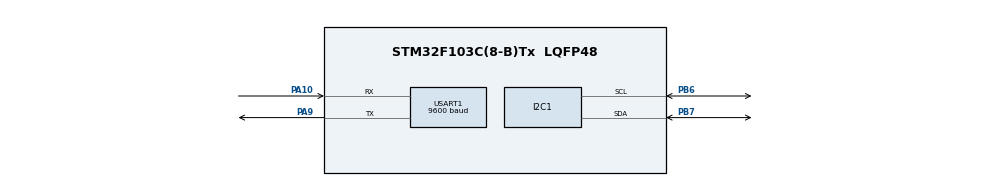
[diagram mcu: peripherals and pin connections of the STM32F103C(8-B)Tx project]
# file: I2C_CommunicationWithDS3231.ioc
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Mcu.Family=STM32F1
Mcu.Name=STM32F103C(8-B)Tx
Mcu.Package=LQFP48
NVIC.PriorityGroup=NVIC_PRIORITYGROUP_4
PA10.Mode=Asynchronous
PA10.Signal=USART1_RX
PA13.Mode=Serial_Wire
PA13.Signal=SYS_JTMS-SWDIO
PA14.Mode=Serial_Wire
PA14.Signal=SYS_JTCK-SWCLK
PA9.Mode=Asynchronous
PA9.Signal=USART1_TX
PB6.Mode=I2C
PB6.Signal=I2C1_SCL
PB7.Mode=I2C
PB7.Signal=I2C1_SDA
ProjectManager.HeapSize=0x200
ProjectManager.StackSize=0x400
ProjectManager.TargetToolchain=MDK-ARM V5
RCC.APB1Freq_Value=8000000
RCC.APB2Freq_Value=8000000
USART1.BaudRate=9600
USART1.VirtualMode=VM_ASYNC
board=I2C_DS3231

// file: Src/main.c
/* USER CODE BEGIN Header */
/**
  ******************************************************************************
  * @file           : main.c
  * @brief          : Main program body
  ******************************************************************************
  * @attention
  *
  * <h2><center>&copy; Copyright (c) 2019 STMicroelectronics.
  * All rights reserved.</center></h2>
  *
  * This software component is licensed by ST under BSD 3-Clause license,
  * the "License"; You may not use this file except in compliance with the
  * License. You may obtain a copy of the License at:
  *                        opensource.org/licenses/BSD-3-Clause
  *
  ******************************************************************************
  */
	/* --COPYRIGHT--,
	 * Copyright (c) 2019, TAPIT Co., Ltd.
	 * https://tapit.vn
	 * *********************** I2C_CommunicationWithDS3231 *************************
	 *  Description: Take the time from the DS3231 module and print it to the screen
	 *  Version:    1.0
	 *  Author:     Hang Tran
	 *  Release:    May 27, 2019
	 *  Built with CubeMX Version 5.2.0 and Keil C Version 5.26.2
	 *******************************************************************************
	 */
/* USER CODE END Header */

#include "main.h"

I2C_HandleTypeDef hi2c1;

UART_HandleTypeDef huart1;

/* USER CODE BEGIN PV */
/* Private variables ---------------------------------------------------------*/
/* USER CODE END PV */

void SystemClock_Config(void);
static void MX_GPIO_Init(void);
static void MX_I2C1_Init(void);
static void MX_USART1_UART_Init(void);
/* USER CODE BEGIN PFP */
/* Private function prototypes -----------------------------------------------*/
#define DS1307_ADRESS (0x68<<1)

int second, minute, hour, day, date, month, year;
typedef struct {
	uint8_t sec;
	uint8_t min;
	uint8_t hour;
	uint8_t day;
	uint8_t date;
	uint8_t month;
	uint8_t year;
	uint8_t buff[8];
} DS1307;

DS1307 ds1307;

/* USER CODE END PFP */

/* USER CODE BEGIN 0 */
uint8_t RTC_BCD2DEC(uint8_t value)
{
	return (value>>4)*10 + (value&0x0f);
}

uint8_t RTC_DEC2BCD(uint8_t value)
{
	return (value/10)<<4 | (value%10);
}
void RTC_setTime(uint8_t hour, uint8_t min, uint8_t sec, uint8_t day, uint8_t date, uint8_t month, uint8_t year)
{
	ds1307.buff[0] = 0x00;
	ds1307.buff[1] = RTC_DEC2BCD(sec);
	ds1307.buff[2] = RTC_DEC2BCD(min);
	ds1307.buff[3] = RTC_DEC2BCD(hour);
	ds1307.buff[4] = RTC_DEC2BCD(day);
	ds1307.buff[5] = RTC_DEC2BCD(date);
	ds1307.buff[6] = RTC_DEC2BCD(month);
	ds1307.buff[7] = RTC_DEC2BCD(year);
	if(HAL_I2C_Master_Transmit(&hi2c1, (uint16_t)DS1307_ADRESS, ds1307.buff, (uint16_t)8, 100) == HAL_OK)
	printf("Set time at %02d:%02d:%02d - %02d/%02d/%02d\r\n",hour,min,sec,date,month,year);
	else
	{
		printf("Error %d\r\n",HAL_I2C_Master_Transmit(&hi2c1, DS1307_ADRESS, ds1307.buff, 8, 100));
	}
}
void RTC_getTime(void)
{
	ds1307.buff[0] = 0x00;
	HAL_I2C_Master_Transmit(&hi2c1, DS1307_ADRESS, ds1307.buff, 1, 100);
	while(HAL_I2C_GetState(&hi2c1) != HAL_I2C_STATE_READY);
	HAL_I2C_Master_Receive(&hi2c1, DS1307_ADRESS, ds1307.buff, 7, 100);
	ds1307.sec = RTC_BCD2DEC(ds1307.buff[0]);
	ds1307.min = RTC_BCD2DEC(ds1307.buff[1]);
	ds1307.hour = RTC_BCD2DEC(ds1307.buff[2]);
	ds1307.day = RTC_BCD2DEC(ds1307.buff[3]);
	ds1307.date = RTC_BCD2DEC(ds1307.buff[4]);
	ds1307.month = RTC_BCD2DEC(ds1307.buff[5]);
	ds1307.year = RTC_BCD2DEC(ds1307.buff[6]);
	printf("%02d:%02d:%02d - %02d/%02d/%02d\r\n",ds1307.hour,ds1307.min,ds1307.sec,
																							ds1307.date,ds1307.month,ds1307.year);
}

/* USER CODE END 0 */

int main(void)
{

  /* MCU Configuration--------------------------------------------------------*/

  /* Reset of all peripherals, Initializes the Flash interface and the Systick. */
  HAL_Init();

  /* Configure the system clock */
  SystemClock_Config();

  /* Initialize all configured peripherals */
  MX_GPIO_Init();
  MX_I2C1_Init();
  MX_USART1_UART_Init();
  /* USER CODE BEGIN 2 */
	RTC_setTime(13, 53, 0, 6, 31, 5, 19);
  /* USER CODE END 2 */

  /* Infinite loop */
  while (1)
  {

    /* USER CODE BEGIN 3 */
		RTC_getTime();
		HAL_Delay(1000);
  }
  /* USER CODE END 3 */
}

void SystemClock_Config(void)
{
  RCC_OscInitTypeDef RCC_OscInitStruct = {0};
  RCC_ClkInitTypeDef RCC_ClkInitStruct = {0};

  /** Initializes the CPU, AHB and APB busses clocks
  */
  RCC_OscInitStruct.OscillatorType = RCC_OSCILLATORTYPE_HSI;
  RCC_OscInitStruct.HSIState = RCC_HSI_ON;
  RCC_OscInitStruct.HSICalibrationValue = RCC_HSICALIBRATION_DEFAULT;
  RCC_OscInitStruct.PLL.PLLState = RCC_PLL_NONE;
  if (HAL_RCC_OscConfig(&RCC_OscInitStruct) != HAL_OK)
  {
    Error_Handler();
  }
  /** Initializes the CPU, AHB and APB busses clocks
  */
  RCC_ClkInitStruct.ClockType = RCC_CLOCKTYPE_HCLK|RCC_CLOCKTYPE_SYSCLK
                              |RCC_CLOCKTYPE_PCLK1|RCC_CLOCKTYPE_PCLK2;
  RCC_ClkInitStruct.SYSCLKSource = RCC_SYSCLKSOURCE_HSI;
  RCC_ClkInitStruct.AHBCLKDivider = RCC_SYSCLK_DIV1;
  RCC_ClkInitStruct.APB1CLKDivider = RCC_HCLK_DIV1;
  RCC_ClkInitStruct.APB2CLKDivider = RCC_HCLK_DIV1;

  if (HAL_RCC_ClockConfig(&RCC_ClkInitStruct, FLASH_LATENCY_0) != HAL_OK)
  {
    Error_Handler();
  }
}

static void MX_I2C1_Init(void)
{

  hi2c1.Instance = I2C1;
  hi2c1.Init.ClockSpeed = 100000;
  hi2c1.Init.DutyCycle = I2C_DUTYCYCLE_2;
  hi2c1.Init.OwnAddress1 = 0;
  hi2c1.Init.AddressingMode = I2C_ADDRESSINGMODE_7BIT;
  hi2c1.Init.DualAddressMode = I2C_DUALADDRESS_DISABLE;
  hi2c1.Init.OwnAddress2 = 0;
  hi2c1.Init.GeneralCallMode = I2C_GENERALCALL_DISABLE;
  hi2c1.Init.NoStretchMode = I2C_NOSTRETCH_DISABLE;
  if (HAL_I2C_Init(&hi2c1) != HAL_OK)
  {
    Error_Handler();
  }

}

static void MX_USART1_UART_Init(void)
{

  huart1.Instance = USART1;
  huart1.Init.BaudRate = 9600;
  huart1.Init.WordLength = UART_WORDLENGTH_8B;
  huart1.Init.StopBits = UART_STOPBITS_1;
  huart1.Init.Parity = UART_PARITY_NONE;
  huart1.Init.Mode = UART_MODE_TX_RX;
  huart1.Init.HwFlowCtl = UART_HWCONTROL_NONE;
  huart1.Init.OverSampling = UART_OVERSAMPLING_16;
  if (HAL_UART_Init(&huart1) != HAL_OK)
  {
    Error_Handler();
  }

}

static void MX_GPIO_Init(void)
{

  /* GPIO Ports Clock Enable */
  __HAL_RCC_GPIOA_CLK_ENABLE();
  __HAL_RCC_GPIOB_CLK_ENABLE();

}

/* USER CODE BEGIN 4 */
#ifdef __GNUC__
  #define PUTCHAR_PROTOTYPE int __io_putchar(int ch)
#else
  #define PUTCHAR_PROTOTYPE int fputc(int ch, FILE *f)
#endif /* __GNUC__ */
PUTCHAR_PROTOTYPE
{
    HAL_UART_Transmit(&huart1, (uint8_t *)&ch, 1, 100);
    return ch;
}
/* USER CODE END 4 */

void Error_Handler(void)
{
  while(1)
  {
  }
}

/************************ (C) COPYRIGHT STMicroelectronics *****END OF FILE****/
